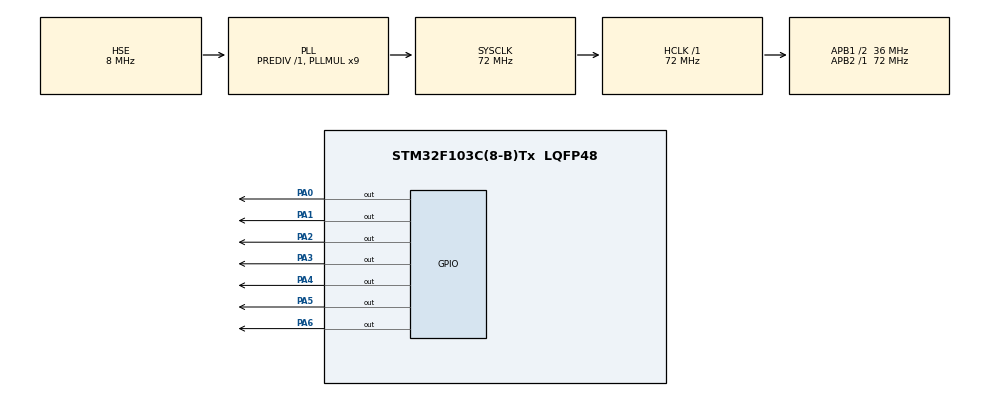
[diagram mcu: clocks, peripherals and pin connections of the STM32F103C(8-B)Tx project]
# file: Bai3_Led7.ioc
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Mcu.Family=STM32F1
Mcu.Name=STM32F103C(8-B)Tx
Mcu.Package=LQFP48
NVIC.PriorityGroup=NVIC_PRIORITYGROUP_4
PA0-WKUP.Signal=GPIO_Output
PA1.Signal=GPIO_Output
PA13.Mode=Serial_Wire
PA13.Signal=SYS_JTMS-SWDIO
PA14.Mode=Serial_Wire
PA14.Signal=SYS_JTCK-SWCLK
PA2.Signal=GPIO_Output
PA3.Signal=GPIO_Output
PA4.Signal=GPIO_Output
PA5.Signal=GPIO_Output
PA6.Signal=GPIO_Output
PD0-OSC_IN.Mode=HSE-External-Oscillator
PD0-OSC_IN.Signal=RCC_OSC_IN
PD1-OSC_OUT.Mode=HSE-External-Oscillator
PD1-OSC_OUT.Signal=RCC_OSC_OUT
ProjectManager.HeapSize=0x200
ProjectManager.StackSize=0x400
ProjectManager.TargetToolchain=MDK-ARM V5.32
RCC.AHBFreq_Value=72000000
RCC.APB1CLKDivider=RCC_HCLK_DIV2
RCC.APB1Freq_Value=36000000
RCC.APB1TimFreq_Value=72000000
RCC.APB2Freq_Value=72000000
RCC.APB2TimFreq_Value=72000000
RCC.HCLKFreq_Value=72000000
RCC.PLLMUL=RCC_PLL_MUL9
RCC.PLLSourceVirtual=RCC_PLLSOURCE_HSE
RCC.SYSCLKFreq_VALUE=72000000
RCC.SYSCLKSource=RCC_SYSCLKSOURCE_PLLCLK
RCC.USBFreq_Value=72000000
board=custom

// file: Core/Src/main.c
/* USER CODE BEGIN Header */
/**
  ******************************************************************************
  * @file           : main.c
  * @brief          : Main program body
  ******************************************************************************
  * @attention
  *
  * Copyright (c) 2026 STMicroelectronics.
  * All rights reserved.
  *
  * This software is licensed under terms that can be found in the LICENSE file
  * in the root directory of this software component.
  * If no LICENSE file comes with this software, it is provided AS-IS.
  *
  ******************************************************************************
  */
/* USER CODE END Header */
#include "main.h"

/* USER CODE BEGIN Includes */
#include "Led7.h"
/* USER CODE END Includes */

void SystemClock_Config(void);
static void MX_GPIO_Init(void);

/* USER CODE BEGIN 0 */
LED_Handler_t LED7;
/* USER CODE END 0 */

int main(void)
{

  /* MCU Configuration--------------------------------------------------------*/

  /* Reset of all peripherals, Initializes the Flash interface and the Systick. */
  HAL_Init();

  /* Configure the system clock */
  SystemClock_Config();

  /* Initialize all configured peripherals */
  MX_GPIO_Init();
  /* USER CODE BEGIN 2 */
LED_GPIO_t segpin[7] ={
	{GPIOA ,GPIO_PIN_0},
	{GPIOA ,GPIO_PIN_1},
	{GPIOA ,GPIO_PIN_2},
	{GPIOA ,GPIO_PIN_3},
	{GPIOA ,GPIO_PIN_4},
	{GPIOA ,GPIO_PIN_5},
	{GPIOA ,GPIO_PIN_6},
};

LED_Init(&LED7 , segpin , LED_ANODE);
  /* USER CODE END 2 */

  /* Infinite loop */
  while (1)
  {

    /* USER CODE BEGIN 3 */
		for(int i = 0 ; i <=9 ; i++){
		LED_DisplayNumber(&LED7 ,i);
		HAL_Delay(1000);
		}

  }
  /* USER CODE END 3 */
}

void SystemClock_Config(void)
{
  RCC_OscInitTypeDef RCC_OscInitStruct = {0};
  RCC_ClkInitTypeDef RCC_ClkInitStruct = {0};

  /** Initializes the RCC Oscillators according to the specified parameters
  * in the RCC_OscInitTypeDef structure.
  */
  RCC_OscInitStruct.OscillatorType = RCC_OSCILLATORTYPE_HSE;
  RCC_OscInitStruct.HSEState = RCC_HSE_ON;
  RCC_OscInitStruct.HSEPredivValue = RCC_HSE_PREDIV_DIV1;
  RCC_OscInitStruct.HSIState = RCC_HSI_ON;
  RCC_OscInitStruct.PLL.PLLState = RCC_PLL_ON;
  RCC_OscInitStruct.PLL.PLLSource = RCC_PLLSOURCE_HSE;
  RCC_OscInitStruct.PLL.PLLMUL = RCC_PLL_MUL9;
  if (HAL_RCC_OscConfig(&RCC_OscInitStruct) != HAL_OK)
  {
    Error_Handler();
  }

  /** Initializes the CPU, AHB and APB buses clocks
  */
  RCC_ClkInitStruct.ClockType = RCC_CLOCKTYPE_HCLK|RCC_CLOCKTYPE_SYSCLK
                              |RCC_CLOCKTYPE_PCLK1|RCC_CLOCKTYPE_PCLK2;
  RCC_ClkInitStruct.SYSCLKSource = RCC_SYSCLKSOURCE_PLLCLK;
  RCC_ClkInitStruct.AHBCLKDivider = RCC_SYSCLK_DIV1;
  RCC_ClkInitStruct.APB1CLKDivider = RCC_HCLK_DIV2;
  RCC_ClkInitStruct.APB2CLKDivider = RCC_HCLK_DIV1;

  if (HAL_RCC_ClockConfig(&RCC_ClkInitStruct, FLASH_LATENCY_2) != HAL_OK)
  {
    Error_Handler();
  }
}

static void MX_GPIO_Init(void)
{
  GPIO_InitTypeDef GPIO_InitStruct = {0};

  /* GPIO Ports Clock Enable */
  __HAL_RCC_GPIOD_CLK_ENABLE();
  __HAL_RCC_GPIOA_CLK_ENABLE();

  /*Configure GPIO pin Output Level */
  HAL_GPIO_WritePin(GPIOA, GPIO_PIN_0|GPIO_PIN_1|GPIO_PIN_2|GPIO_PIN_3
                          |GPIO_PIN_4|GPIO_PIN_5|GPIO_PIN_6, GPIO_PIN_RESET);

  /*Configure GPIO pins : PA0 PA1 PA2 PA3
                           PA4 PA5 PA6 */
  GPIO_InitStruct.Pin = GPIO_PIN_0|GPIO_PIN_1|GPIO_PIN_2|GPIO_PIN_3
                          |GPIO_PIN_4|GPIO_PIN_5|GPIO_PIN_6;
  GPIO_InitStruct.Mode = GPIO_MODE_OUTPUT_PP;
  GPIO_InitStruct.Pull = GPIO_NOPULL;
  GPIO_InitStruct.Speed = GPIO_SPEED_FREQ_LOW;
  HAL_GPIO_Init(GPIOA, &GPIO_InitStruct);

}

void Error_Handler(void)
{
  __disable_irq();
  while (1)
  {
  }
}
